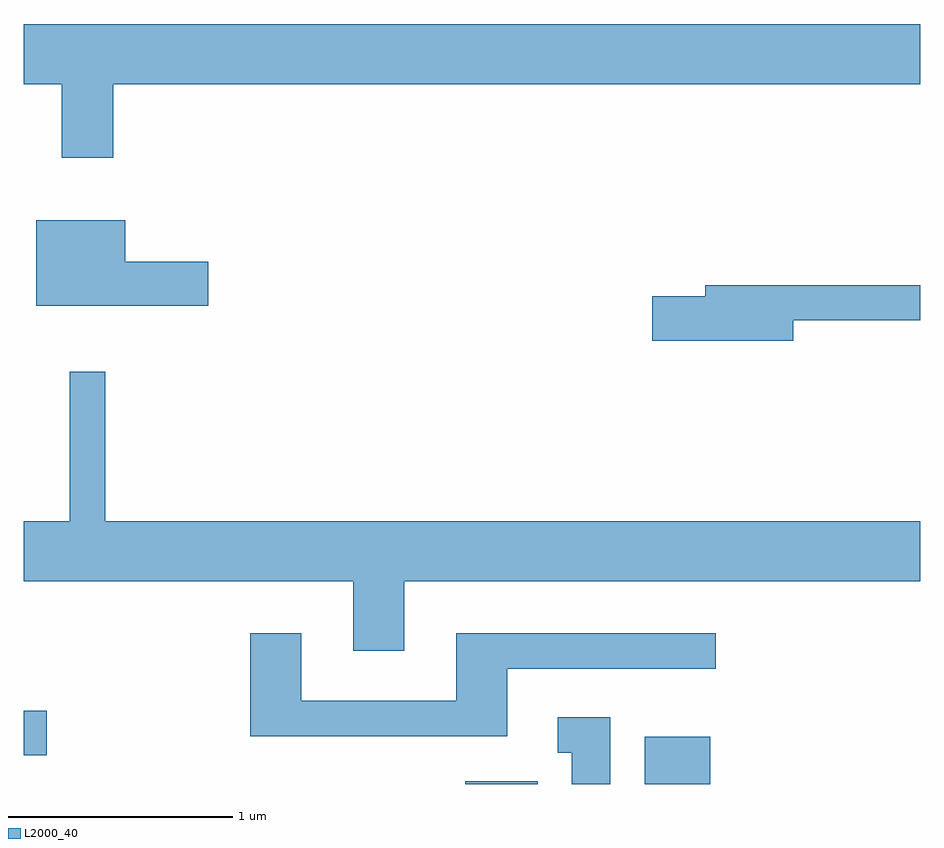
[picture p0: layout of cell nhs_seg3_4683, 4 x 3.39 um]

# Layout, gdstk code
import gdstk
lib = gdstk.Library(unit=1e-6, precision=1e-09)
def R(c, l, rs):  # rectangles x0, y0, x1, y1
    for r in rs: c.add(gdstk.rectangle(r[:2], r[2:], *l))
def P(c, l, *ps):  # polygons
    for p in ps: c.add(gdstk.Polygon(p, *l))
L2000_40 = (2000, 40)

nhs_seg3_4683 = lib.new_cell('nhs_seg3_4683')
R(nhs_seg3_4683, L2000_40, [(323.581,1233.892,323.904,1233.904), (324.381,1233.892,324.674,1234.104), (321.611,1234.021,321.714,1234.219)])
P(nhs_seg3_4683, L2000_40, [(322.009,1237.016),(325.611,1237.016),(325.611,1237.284),(321.611,1237.284),(321.611,1237.016),(321.781,1237.016),(321.781,1236.686),(322.009,1236.686)],
  [(322.434,1236.224),(322.064,1236.224),(322.064,1236.409),(321.666,1236.409),(321.666,1236.026),(322.434,1236.026)],
  [(325.044,1235.961),(325.611,1235.961),(325.611,1236.119),(324.651,1236.119),(324.651,1236.069),(324.416,1236.069),(324.416,1235.871),(325.044,1235.871)],
  [(323.309,1234.796),(325.611,1234.796),(325.611,1235.064),(321.974,1235.064),(321.974,1235.733),(321.816,1235.733),(321.816,1235.064),(321.611,1235.064),(321.611,1234.796),(323.081,1234.796),(323.081,1234.486),(323.309,1234.486)],
  [(323.769,1234.406),(324.698,1234.406),(324.698,1234.564),(323.541,1234.564),(323.541,1234.264),(322.849,1234.264),(322.849,1234.564),(322.621,1234.564),(322.621,1234.106),(323.769,1234.106)],
  [(324.229,1234.189),(323.993,1234.189),(323.993,1234.031),(324.056,1234.031),(324.056,1233.892),(324.229,1233.892)])

lib.write_gds('nhs_seg3_4683.gds')
